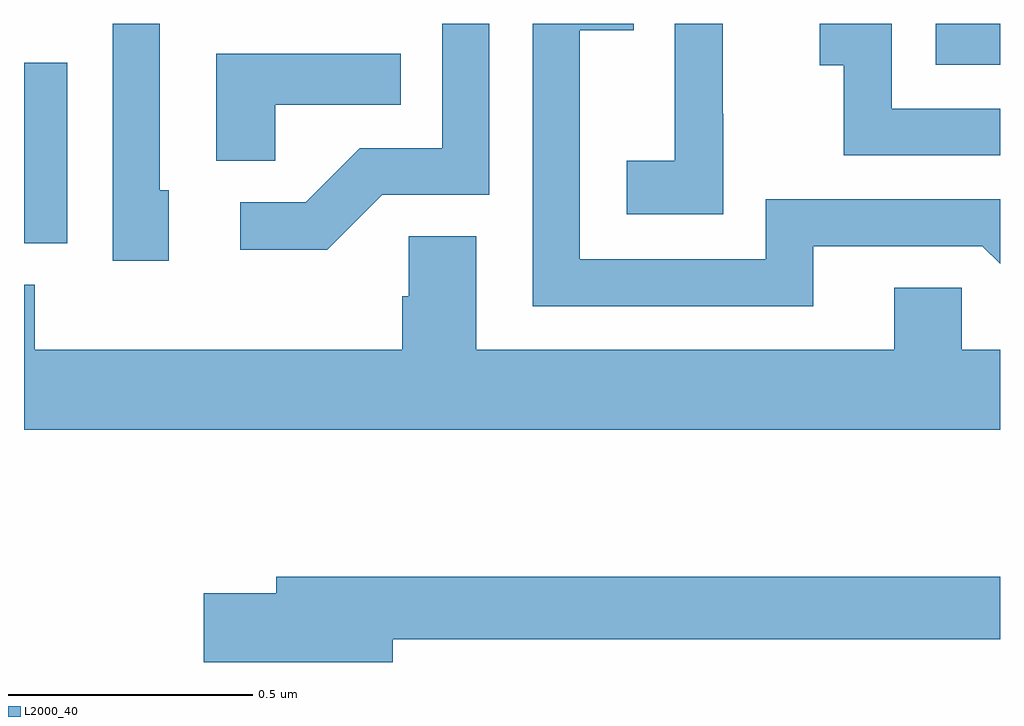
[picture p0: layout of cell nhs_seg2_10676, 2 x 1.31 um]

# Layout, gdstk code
import gdstk
lib = gdstk.Library(unit=1e-6, precision=1e-09)
def R(c, l, rs):  # rectangles x0, y0, x1, y1
    for r in rs: c.add(gdstk.rectangle(r[:2], r[2:], *l))
def P(c, l, *ps):  # polygons
    for p in ps: c.add(gdstk.Polygon(p, *l))
L2000_40 = (2000, 40)

nhs_seg2_10676 = lib.new_cell('nhs_seg2_10676')
R(nhs_seg2_10676, L2000_40, [(244,649.35,244.089,649.72), (245.868,649.716,246,649.8)])
P(nhs_seg2_10676, L2000_40, [(245.433,649.615),(245.432,649.615),(245.432,649.8),(245.334,649.8),(245.334,649.748),(245.333,649.748),(245.333,649.519),(245.235,649.519),(245.235,649.409),(245.433,649.409)],
  [(246,649.626),(245.778,649.626),(245.778,649.8),(245.631,649.8),(245.631,649.715),(245.68,649.715),(245.68,649.53),(246,649.53)],
  [(244.734,649.449),(244.953,649.449),(244.953,649.8),(244.857,649.8),(244.857,649.545),(244.688,649.545),(244.577,649.434),(244.443,649.434),(244.443,649.337),(244.621,649.337)],
  [(244.297,649.458),(244.278,649.458),(244.278,649.8),(244.182,649.8),(244.182,649.314),(244.297,649.314)],
  [(245.617,649.344),(245.964,649.344),(246,649.308),(246,649.44),(245.52,649.44),(245.52,649.317),(245.139,649.317),(245.139,649.786),(245.249,649.786),(245.249,649.8),(245.043,649.8),(245.043,649.221),(245.617,649.221)],
  [(244.515,649.634),(244.772,649.634),(244.772,649.738),(244.394,649.738),(244.394,649.519),(244.515,649.519)],
  [(246,649.132),(245.922,649.132),(245.922,649.259),(245.783,649.259),(245.783,649.132),(244.927,649.132),(244.927,649.364),(244.788,649.364),(244.788,649.241),(244.775,649.241),(244.775,649.132),(244.022,649.132),(244.022,649.265),(244,649.265),(244,648.968),(246,648.968)],
  [(244.756,648.538),(246,648.538),(246,648.667),(244.517,648.667),(244.517,648.633),(244.368,648.633),(244.368,648.491),(244.756,648.491)])

lib.write_gds('nhs_seg2_10676.gds')
